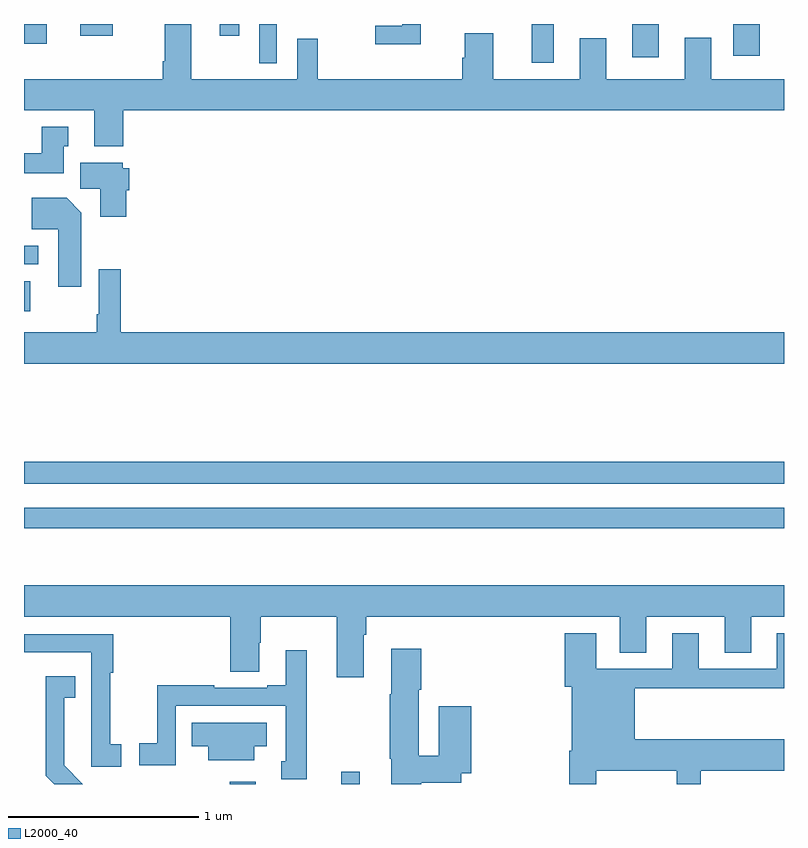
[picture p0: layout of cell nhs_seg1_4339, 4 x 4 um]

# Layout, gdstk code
import gdstk
lib = gdstk.Library(unit=1e-6, precision=1e-09)
def R(c, l, rs):  # rectangles x0, y0, x1, y1
    for r in rs: c.add(gdstk.rectangle(r[:2], r[2:], *l))
def P(c, l, *ps):  # polygons
    for p in ps: c.add(gdstk.Polygon(p, *l))
L2000_40 = (2000, 40)

nhs_seg1_4339 = lib.new_cell('nhs_seg1_4339')
R(nhs_seg1_4339, L2000_40, [(348.084,536.199,348.22,536.212), (348.669,536.199,348.766,536.263), (347,537.546,351,537.654), (347,537.78,351,537.896), (347,538.688,347.032,538.846), (347,538.935,347.074,539.031), (348.237,539.993,348.33,540.199), (349.673,539.994,349.789,540.199), (350.201,540.024,350.341,540.199), (350.732,540.033,350.872,540.199), (347,540.095,347.119,540.199), (347.295,540.138,347.467,540.199), (348.029,540.138,348.133,540.199)])
P(nhs_seg1_4339, L2000_40, [(349.089,540.199),(348.99,540.199),(348.99,540.19),(348.849,540.19),(348.849,540.092),(349.089,540.092)],
  [(347.522,539.744),(351,539.744),(351,539.908),(350.617,539.908),(350.617,540.127),(350.477,540.127),(350.477,539.908),(350.065,539.908),(350.065,540.124),(349.925,540.124),(349.925,539.908),(349.471,539.908),(349.471,540.151),(349.319,540.151),(349.319,540.021),(349.307,540.021),(349.307,539.908),(348.547,539.908),(348.547,540.122),(348.438,540.122),(348.438,539.908),(347.881,539.908),(347.881,540.199),(347.741,540.199),(347.741,540.004),(347.729,540.004),(347.729,539.908),(347,539.908),(347,539.744),(347.369,539.744),(347.369,539.555),(347.522,539.555)],
  [(347.209,539.556),(347.233,539.556),(347.233,539.659),(347.093,539.659),(347.093,539.518),(347,539.518),(347,539.414),(347.209,539.414)],
  [(347.537,539.325),(347.555,539.325),(347.555,539.439),(347.52,539.439),(347.52,539.47),(347.297,539.47),(347.297,539.332),(347.402,539.332),(347.402,539.184),(347.537,539.184)],
  [(347.302,539.206),(347.224,539.284),(347.041,539.284),(347.041,539.12),(347.18,539.12),(347.18,538.815),(347.302,538.815)],
  [(351,538.576),(347.51,538.576),(347.51,538.909),(347.394,538.909),(347.394,538.672),(347.382,538.672),(347.382,538.576),(347,538.576),(347,538.412),(351,538.412)],
  [(348.787,536.984),(348.8,536.984),(348.8,537.08),(350.135,537.08),(350.135,536.89),(350.275,536.89),(350.275,537.08),(350.687,537.08),(350.687,536.89),(350.827,536.89),(350.827,537.08),(351,537.08),(351,537.244),(347,537.244),(347,537.08),(348.086,537.08),(348.086,536.791),(348.238,536.791),(348.238,536.942),(348.246,536.942),(348.246,537.08),(348.647,537.08),(348.647,536.76),(348.787,536.76)],
  [(350.011,536.27),(350.435,536.27),(350.435,536.199),(350.563,536.199),(350.563,536.27),(351,536.27),(351,536.434),(350.215,536.434),(350.215,536.704),(351,536.704),(351,536.992),(350.963,536.992),(350.963,536.805),(350.551,536.805),(350.551,536.992),(350.411,536.992),(350.411,536.805),(350.011,536.805),(350.011,536.992),(349.847,536.992),(349.847,536.712),(349.883,536.712),(349.883,536.374),(349.871,536.374),(349.871,536.199),(350.011,536.199)],
  [(347.512,536.409),(347.454,536.409),(347.454,536.785),(347.471,536.785),(347.471,536.988),(347,536.988),(347,536.892),(347.355,536.892),(347.355,536.564),(347.354,536.564),(347.354,536.289),(347.512,536.289)],
  [(349.091,536.206),(349.3,536.206),(349.3,536.255),(349.355,536.255),(349.355,536.608),(349.184,536.608),(349.184,536.348),(349.078,536.348),(349.078,536.695),(349.091,536.695),(349.091,536.911),(348.932,536.911),(348.932,536.672),(348.925,536.672),(348.925,536.331),(348.932,536.331),(348.932,536.199),(349.091,536.199)],
  [(348.487,536.902),(348.377,536.902),(348.377,536.719),(348.281,536.719),(348.281,536.706),(348.002,536.706),(348.002,536.719),(347.701,536.719),(347.701,536.414),(347.607,536.414),(347.607,536.298),(347.799,536.298),(347.799,536.61),(348.378,536.61),(348.378,536.319),(348.353,536.319),(348.353,536.225),(348.487,536.225)],
  [(347.212,536.297),(347.212,536.654),(347.27,536.654),(347.27,536.767),(347.115,536.767),(347.115,536.242),(347.158,536.199),(347.31,536.199)],
  [(348.211,536.399),(348.277,536.399),(348.277,536.521),(347.884,536.521),(347.884,536.399),(347.969,536.399),(347.969,536.324),(348.211,536.324)])

lib.write_gds('nhs_seg1_4339.gds')
